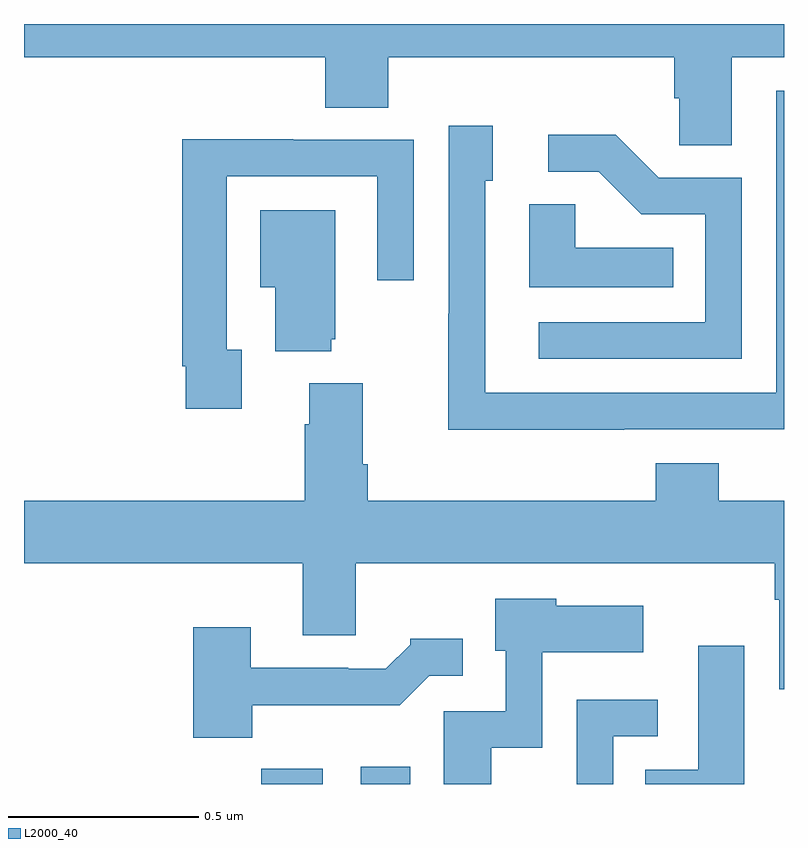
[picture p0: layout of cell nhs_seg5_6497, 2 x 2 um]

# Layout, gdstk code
import gdstk
lib = gdstk.Library(unit=1e-6, precision=1e-09)
def R(c, l, rs):  # rectangles x0, y0, x1, y1
    for r in rs: c.add(gdstk.rectangle(r[:2], r[2:], *l))
def P(c, l, *ps):  # polygons
    for p in ps: c.add(gdstk.Polygon(p, *l))
L2000_40 = (2000, 40)

nhs_seg5_6497 = lib.new_cell('nhs_seg5_6497')
R(nhs_seg5_6497, L2000_40, [(196.624,902.799,196.786,902.839), (196.886,902.799,197.017,902.845)])
P(nhs_seg5_6497, L2000_40, [(197.863,904.712),(198,904.712),(198,904.799),(196,904.799),(196,904.712),(196.793,904.712),(196.793,904.579),(196.958,904.579),(196.958,904.712),(197.711,904.712),(197.711,904.603),(197.724,904.603),(197.724,904.48),(197.863,904.48)],
  [(197.579,903.732),(198,903.732),(198,904.623),(197.979,904.623),(197.979,903.828),(197.214,903.828),(197.214,904.386),(197.233,904.386),(197.233,904.531),(197.118,904.531),(197.118,904.037),(197.116,904.037),(197.116,903.731),(197.579,903.731)],
  [(197.889,904.395),(197.67,904.395),(197.557,904.508),(197.379,904.508),(197.379,904.41),(197.513,904.41),(197.624,904.299),(197.793,904.299),(197.793,904.014),(197.355,904.014),(197.355,903.918),(197.889,903.918)],
  [(196.573,903.942),(196.533,903.942),(196.533,904.398),(196.929,904.398),(196.929,904.125),(197.025,904.125),(197.025,904.494),(196.709,904.494),(196.709,904.496),(196.417,904.496),(196.417,903.898),(196.425,903.898),(196.425,903.786),(196.573,903.786)],
  [(197.708,904.21),(197.451,904.21),(197.451,904.325),(197.33,904.325),(197.33,904.106),(197.708,904.106)],
  [(196.808,903.969),(196.819,903.969),(196.819,904.309),(196.622,904.309),(196.622,904.106),(196.661,904.106),(196.661,903.938),(196.808,903.938)],
  [(198,903.544),(197.828,903.544),(197.828,903.643),(197.663,903.643),(197.663,903.544),(196.904,903.544),(196.904,903.64),(196.891,903.64),(196.891,903.853),(196.751,903.853),(196.751,903.746),(196.739,903.746),(196.739,903.544),(196,903.544),(196,903.38),(196.733,903.38),(196.733,903.19),(196.873,903.19),(196.873,903.38),(197.976,903.38),(197.976,903.284),(197.988,903.284),(197.988,903.048),(198,903.048)],
  [(197.23,902.894),(197.364,902.894),(197.364,903.146),(197.629,903.146),(197.629,903.268),(197.4,903.268),(197.4,903.286),(197.24,903.286),(197.24,903.15),(197.268,903.15),(197.268,902.991),(197.105,902.991),(197.105,902.799),(197.23,902.799)],
  [(196.6,903.006),(196.989,903.006),(197.067,903.084),(197.155,903.084),(197.155,903.181),(197.016,903.181),(197.016,903.166),(196.952,903.102),(196.853,903.102),(196.853,903.105),(196.597,903.105),(196.597,903.211),(196.445,903.211),(196.445,902.921),(196.6,902.921)],
  [(197.896,903.163),(197.774,903.163),(197.774,902.836),(197.635,902.836),(197.635,902.799),(197.896,902.799)],
  [(197.55,902.925),(197.668,902.925),(197.668,903.021),(197.454,903.021),(197.454,902.799),(197.55,902.799)])

lib.write_gds('nhs_seg5_6497.gds')
